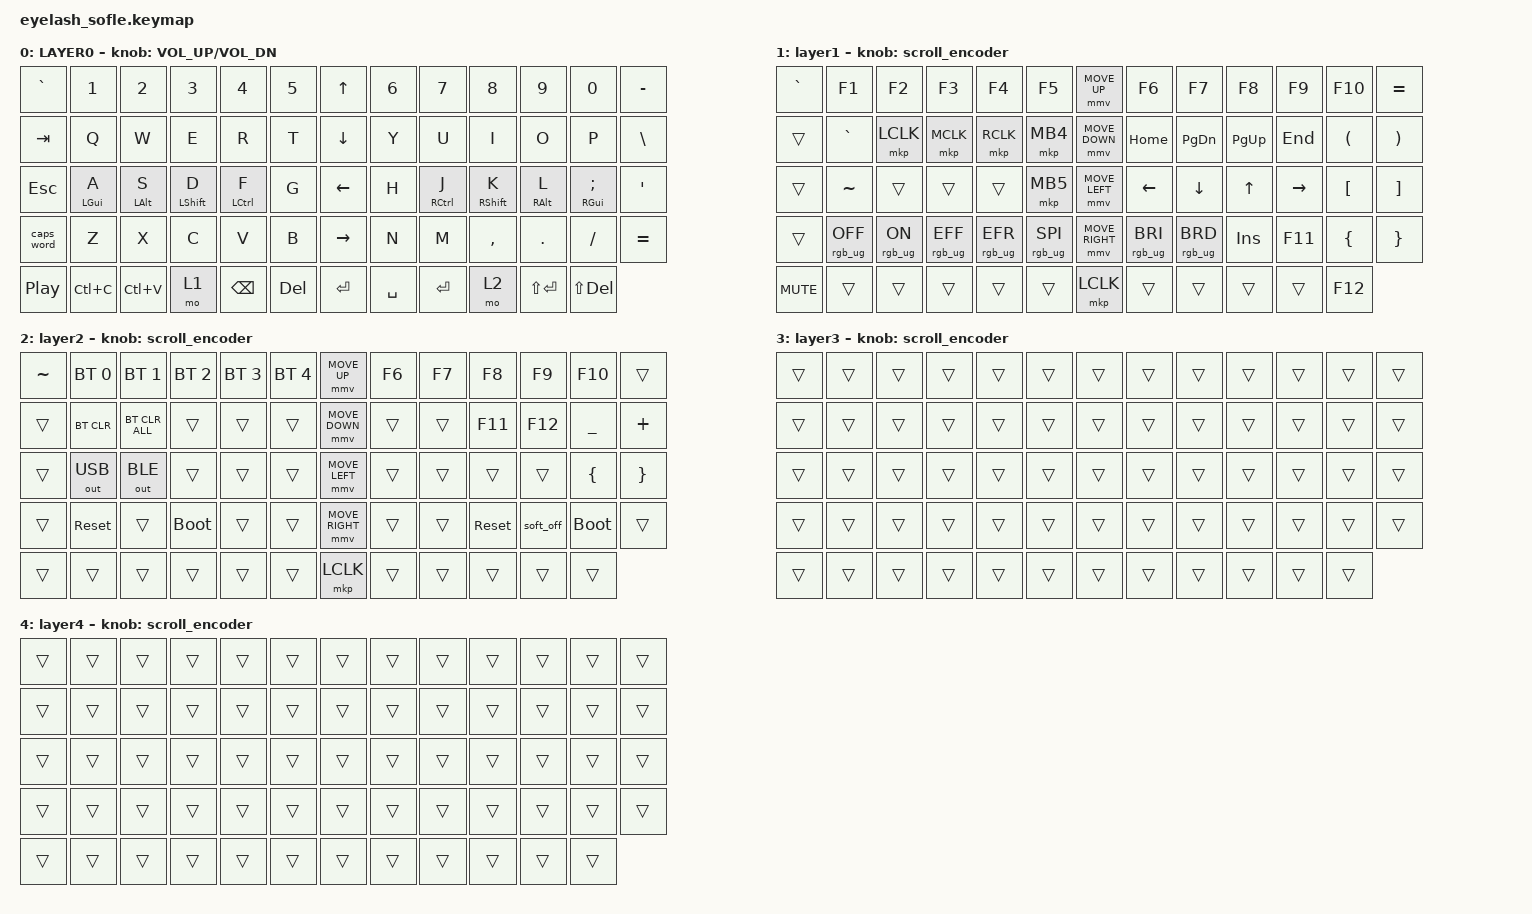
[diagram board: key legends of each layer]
#include <behaviors.dtsi>
#include <dt-bindings/zmk/bt.h>
#include <dt-bindings/zmk/keys.h>
#include <dt-bindings/zmk/mouse.h>
#include <dt-bindings/zmk/outputs.h>
#include <dt-bindings/zmk/rgb.h>

#include <input/processors.dtsi>

/*

   &mmv_input_listener {
       input-processors = <&zip_xy_scaler 2 1>;
   };

   &msc_input_listener {
       input-processors = <&zip_xy_scaler 2 1>;
   };

 */

#define ZMK_MOUSE_DEFAULT_MOVE_VAL 1200  // 600
#define ZMK_MOUSE_DEFAULT_SCRL_VAL 20    // 10


/ {
    behaviors {
        mmv {
            acceleration-exponent = <1>;    // 1
            time-to-max-speed-ms = <900>;   // 40
            delay-ms = <0>;                 // 0
        };

        msc {
            acceleration-exponent = <1>;    // 0
            time-to-max-speed-ms = <400>;   // 500
            delay-ms = <0>;                 // 10
        };
    };

    scroll_encoder: scroll_encoder {
        compatible = "zmk,behavior-sensor-rotate";
        #sensor-binding-cells = <0>;
        bindings = <&msc SCRL_DOWN>, <&msc SCRL_UP>;

        tap-ms = <30>;
    };

    behaviors {
        lh_pht: lh_pht {
            compatible = "zmk,behavior-hold-tap";
            label = "LH_PHT";
            bindings = <&kp>, <&kp>;

            #binding-cells = <2>;
            tapping-term-ms = <150>;
            quick-tap-ms = <150>;
            hold-trigger-key-positions = <7 8 9 10 11 12 20 21 22 23 24 25 33 34 35 36 37 38 46 47 48 49 50 51 60 61 62 63 59>;
            flavor = "tap-preferred";
            hold-trigger-on-release;
        };

        rh_pht: rh_pht {
            compatible = "zmk,behavior-hold-tap";
            label = "RH_PHT";
            bindings = <&kp>, <&kp>;

            #binding-cells = <2>;
            tapping-term-ms = <150>;
            quick-tap-ms = <150>;
            hold-trigger-key-positions = <0 1 2 4 5 13 14 15 16 17 18 26 27 28 29 30 31 39 40 41 42 43 44 52 53 54 55 56 57>;
            flavor = "tap-preferred";
            hold-trigger-on-release;
        };
    };

    combos {
        compatible = "zmk,combos";

        softoff {
            bindings = <&soft_off>;
            key-positions = <14 28 40>;
        };
    };

    keymap {
        compatible = "zmk,keymap";

        layer0 {
            bindings = <
&kp GRAVE         &kp N1              &kp N2              &kp N3                &kp N4                  &kp N5        &kp UP_ARROW     &kp N6     &kp N7                   &kp N8                 &kp N9               &kp N0                  &kp MINUS
&kp TAB           &kp Q               &kp W               &kp E                 &kp R                   &kp T         &kp DOWN_ARROW   &kp Y      &kp U                    &kp I                  &kp O                &kp P                   &kp BSLH
&kp ESCAPE        &lh_pht LEFT_GUI A  &lh_pht LEFT_ALT S  &lh_pht LEFT_SHIFT D  &lh_pht LEFT_CONTROL F  &kp G         &kp LEFT_ARROW   &kp H      &rh_pht RIGHT_CONTROL J  &rh_pht RIGHT_SHIFT K  &rh_pht RIGHT_ALT L  &rh_pht RIGHT_GUI SEMI  &kp APOS
&caps_word        &kp Z               &kp X               &kp C                 &kp V                   &kp B         &kp RIGHT_ARROW  &kp N      &kp M                    &kp COMMA              &kp DOT              &kp FSLH                &kp EQUAL
&kp C_PLAY_PAUSE  &kp LC(C)           &kp LC(V)           &mo 1                 &kp BACKSPACE           &kp DELETE    &kp ENTER        &kp SPACE  &kp ENTER                &mo 2                  &kp LS(ENTER)        &kp LS(DELETE)
            >;

            sensor-bindings = <&inc_dec_kp C_VOLUME_UP C_VOL_DN>;
            display-name = "LAYER0";
        };

        layer_1 {
            bindings = <
&kp GRAVE   &kp F1           &kp F2          &kp F3           &kp F4           &kp F5             &mmv MOVE_UP     &kp F6           &kp F7           &kp F8       &kp F9     &kp F10               &kp EQUAL
&trans      &kp GRAVE        &mkp LCLK       &mkp MCLK        &mkp RCLK        &mkp MB4           &mmv MOVE_DOWN   &kp HOME         &kp PAGE_DOWN    &kp PAGE_UP  &kp END    &kp LEFT_PARENTHESIS  &kp RIGHT_PARENTHESIS
&trans      &kp TILDE        &trans          &trans           &trans           &mkp MB5           &mmv MOVE_LEFT   &kp LEFT         &kp DOWN         &kp UP       &kp RIGHT  &kp LEFT_BRACKET      &kp RIGHT_BRACKET
&trans      &rgb_ug RGB_OFF  &rgb_ug RGB_ON  &rgb_ug RGB_EFF  &rgb_ug RGB_EFR  &rgb_ug RGB_SPI    &mmv MOVE_RIGHT  &rgb_ug RGB_BRI  &rgb_ug RGB_BRD  &kp INSERT   &kp F11    &kp LEFT_BRACE        &kp RIGHT_BRACE
&kp C_MUTE  &trans           &trans          &trans           &trans           &trans             &mkp LCLK        &trans           &trans           &trans       &trans     &kp F12
            >;

            display-name = "layer1";
            sensor-bindings = <&scroll_encoder>;
        };

        layer_2 {
            bindings = <
&kp TILDE  &bt BT_SEL 0  &bt BT_SEL 1    &bt BT_SEL 2  &bt BT_SEL 3  &bt BT_SEL 4    &mmv MOVE_UP     &kp F6  &kp F7  &kp F8      &kp F9     &kp F10      &trans
&trans     &bt BT_CLR    &bt BT_CLR_ALL  &trans        &trans        &trans          &mmv MOVE_DOWN   &trans  &trans  &kp F11     &kp F12    &kp UNDER    &kp PLUS
&trans     &out OUT_USB  &out OUT_BLE    &trans        &trans        &trans          &mmv MOVE_LEFT   &trans  &trans  &trans      &trans     &kp LBRC     &kp RBRC
&trans     &sys_reset    &trans          &bootloader   &trans        &trans          &mmv MOVE_RIGHT  &trans  &trans  &sys_reset  &soft_off  &bootloader  &trans
&trans     &trans        &trans          &trans        &trans        &trans          &mkp LCLK        &trans  &trans  &trans      &trans     &trans
            >;

            display-name = "layer2";
            sensor-bindings = <&scroll_encoder>;
        };

        layer_3 {
            bindings = <
&trans  &trans  &trans  &trans  &trans  &trans    &trans  &trans  &trans  &trans  &trans  &trans  &trans
&trans  &trans  &trans  &trans  &trans  &trans    &trans  &trans  &trans  &trans  &trans  &trans  &trans
&trans  &trans  &trans  &trans  &trans  &trans    &trans  &trans  &trans  &trans  &trans  &trans  &trans
&trans  &trans  &trans  &trans  &trans  &trans    &trans  &trans  &trans  &trans  &trans  &trans  &trans
&trans  &trans  &trans  &trans  &trans  &trans    &trans  &trans  &trans  &trans  &trans  &trans
            >;

            display-name = "layer3";
            sensor-bindings = <&scroll_encoder>;
        };

        layer_4 {
            bindings = <
&trans  &trans  &trans  &trans  &trans  &trans    &trans  &trans  &trans  &trans  &trans  &trans  &trans
&trans  &trans  &trans  &trans  &trans  &trans    &trans  &trans  &trans  &trans  &trans  &trans  &trans
&trans  &trans  &trans  &trans  &trans  &trans    &trans  &trans  &trans  &trans  &trans  &trans  &trans
&trans  &trans  &trans  &trans  &trans  &trans    &trans  &trans  &trans  &trans  &trans  &trans  &trans
&trans  &trans  &trans  &trans  &trans  &trans    &trans  &trans  &trans  &trans  &trans  &trans
            >;
            display-name = "layer4";
            sensor-bindings = <&scroll_encoder>;
        };
    };
};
